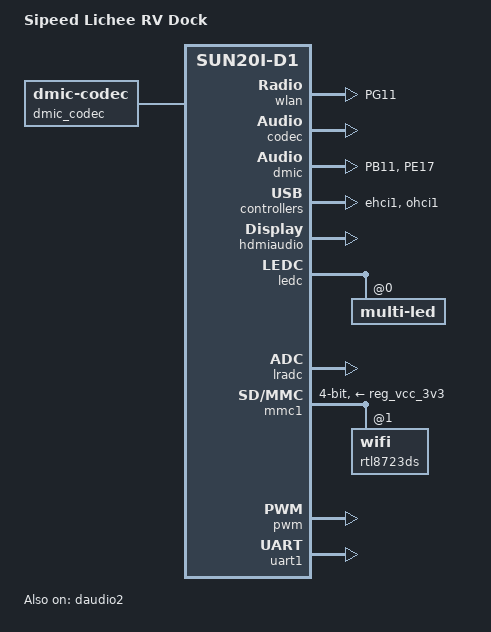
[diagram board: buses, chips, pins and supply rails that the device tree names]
// SPDX-License-Identifier: (GPL-2.0+ or MIT)
// Copyright (C) 2022 Jisheng Zhang <jszhang@kernel.org>
// Copyright (C) 2022 Samuel Holland <samuel@sholland.org>

#include <dt-bindings/display/media-bus-format.h>
#include <dt-bindings/input/input.h>

#include "sun20i-d1-lichee-rv-bsp.dts"

/ {
	model = "Sipeed Lichee RV Dock";
	compatible = "sipeed,lichee-rv-dock", "sipeed,lichee-rv",
		     "allwinner,sun20i-d1";

	aliases {
		ethernet1 = &rtl8723ds;
	};

	dmic_codec: dmic-codec {
		compatible = "dmic-codec";
		num-channels = <2>;
		#sound-dai-cells = <0>;
	};

	dmic-sound {
		compatible = "simple-audio-card";
		simple-audio-card,name = "DMIC";
		#address-cells = <1>;
		#size-cells = <0>;

		simple-audio-card,dai-link@0 {
			format = "pdm";
			frame-master = <&link0_cpu>;
			bitclock-master = <&link0_cpu>;

			link0_cpu: cpu {
				sound-dai = <&dmic>;
			};

			link0_codec: codec {
				sound-dai = <&dmic_codec>;
			};
		};
	};

/*
	wifi_pwrseq: wifi-pwrseq {
		compatible = "mmc-pwrseq-simple";
		reset-gpios = <&pio 6 12 GPIO_ACTIVE_LOW>; // PG12 //
	};
*/

	rfkill: rfkill@0 {
		compatible    = "allwinner,sunxi-rfkill";
		chip_en;
		power_en;
		status        = "okay";

		wlan: wlan@0 {
			compatible    = "allwinner,sunxi-wlan";
			pinctrl-0 = <&wlan_pins_a>;
			pinctrl-names = "default";
			clock-names = "32k-fanout1";
			clocks = <&ccu CLK_FANOUT1>;
			wlan_busnum    = <0x1>;
			wlan_regon    = <&pio 6 12 GPIO_ACTIVE_HIGH>;
			wlan_hostwake  = <&pio 6 10 GPIO_ACTIVE_HIGH>;
			/*wlan_power    = "VCC-3V3";*/
			/*wlan_power_vol = <3300000>;*/
			/*interrupt-parent = <&pio>;
			interrupts = < 6 10 IRQ_TYPE_LEVEL_HIGH>;*/
			wakeup-source;

		};

		bt: bt@0 {
			compatible    = "allwinner,sunxi-bt";
			pinctrl-0 = <&wlan_pins_a>;
			pinctrl-names = "default";
			clock-names = "32k-fanout1";
			clocks = <&ccu CLK_FANOUT1>;
			/*bt_power_num = <0x01>;*/
			/*bt_power      = "axp803-dldo1";*/
			/*bt_io_regulator = "axp803-dldo1";*/
			/*bt_io_vol = <3300000>;*/
			/*bt_power_vol = <330000>;*/
			bt_rst_n      = <&pio 6 18 GPIO_ACTIVE_LOW>;
			status        = "okay";
		};
	};

	btlpm: btlpm@0 {
		compatible  = "allwinner,sunxi-btlpm";
		uart_index  = <0x1>;
		bt_wake     = <&pio 6 16 GPIO_ACTIVE_HIGH>;
		bt_hostwake = <&pio 6 17 GPIO_ACTIVE_HIGH>;
		status      = "disabled";
	};

	addr_mgt: addr_mgt@0 {
		compatible     = "allwinner,sunxi-addr_mgt";
		type_addr_wifi = <0x0>;
		type_addr_bt   = <0x0>;
		type_addr_eth  = <0x0>;
		status         = "okay";
	};

/*
	backlight: backlight {
		compatible = "pwm-backlight";
		power-supply = <&reg_vcc>;
		pwms = <&pwm 7 50000 0>;
	};

	panel {
		compatible = "simple-panel";
		backlight = <&backlight>;
		power-supply = <&reg_vcc>;
		reset-gpios = <&pio 6 13 GPIO_ACTIVE_LOW>; // PG13 //

		bpc = <6>;
		bus-format = <MEDIA_BUS_FMT_RGB666_1X18>;

		// LCD size //
		width-mm = <154>;
		height-mm = <86>;

		panel-timing {
			clock-frequency = <10000000>;
			hactive = <480>;
			vactive = <272>;
			hfront-porch = <50>;
			hsync-len = <10>;
			hback-porch = <50>;
			vfront-porch = <12>;
			vsync-len = <11>;
			vback-porch = <12>;
			hsync-active = <0>;
			vsync-active = <0>;
		};

		port {
			panel_in_tcon_lcd0: endpoint {
				remote-endpoint = <&tcon_lcd0_out_panel>;
			};
		};
	};
*/
};

&codec {
	routing = "Internal Speaker", "HPOUTL",
		  "Internal Speaker", "HPOUTR",
		  "LINEINL", "HPOUTL",
		  "LINEINR", "HPOUTR",
		  "MICIN3", "Internal Microphone",
		  "Internal Microphone", "HBIAS";
	widgets = "Microphone", "Internal Microphone",
		  "Speaker", "Internal Speaker";
	status = "okay";
};

/*
&de {
	status = "okay";
};
*/

&dmic {
	pinctrl-0 = <&dmic_pb11_d0_pin>, <&dmic_pe17_clk_pin>;
	pinctrl-names = "default";
	status = "okay";
};

&ehci1 {
	status = "okay";
};

&daudio2 {
	mclk_div 	= <0x00>;
	frametype 	= <0x00>;
	tdm_config 	= <0x01>;
	sign_extend 	= <0x00>;
	tx_data_mode 	= <0x00>;
	rx_data_mode 	= <0x00>;
	msb_lsb_first 	= <0x00>;
	pcm_lrck_period = <0x20>;
	slot_width_select = <0x20>;
	asrc_function_en  = <0x00>;
	pinctrl-names   = "default", "sleep";
	/*pinctrl-0       = <&daudio2_pins_a &daudio2_pins_b &daudio2_pins_c>;*/
	/*pinctrl-1       = <&daudio2_pins_d>;*/
	/* HDMI audio, no need pin */
	pinctrl-0;
	pinctrl-1;
	pinctrl_used	= <0x0>;
	daudio_type	= <0x1>;
	status = "okay";
};

/* if HDMI audio is used, daudio2 should be enable. */
&hdmiaudio {
	status = "okay";
};

&sounddaudio2 {
	status = "okay";
	simple-audio-card,name = "sndhdmi";
	daudio2_master: simple-audio-card,codec {
		sound-dai = <&hdmiaudio>;
	};
};

&disp {
	disp_init_enable         = <1>;
	disp_mode                = <0>;

	screen0_output_type      = <1>;
	screen0_output_mode      = <4>;

	screen1_output_type      = <3>;
	screen1_output_mode      = <10>;

	screen1_output_format    = <0>;
	screen1_output_bits      = <0>;
	screen1_output_eotf      = <4>;
	screen1_output_cs        = <257>;
	screen1_output_dvi_hdmi  = <2>;
	screen1_output_range     = <2>;
	screen1_output_scan      = <0>;
	screen1_output_aspect_ratio = <8>;

	dev0_output_type         = <1>;
	dev0_output_mode         = <4>;
	dev0_screen_id           = <0>;
	dev0_do_hpd              = <0>;

	dev1_output_type         = <4>;
	dev1_output_mode         = <10>;
	dev1_screen_id           = <1>;
	dev1_do_hpd              = <1>;

	def_output_dev           = <0>;
	hdmi_mode_check          = <1>;

	fb0_format               = <0>;
	fb0_width                = <0>;
	fb0_height               = <0>;

	fb1_format               = <0>;
	fb1_width                = <0>;
	fb1_height               = <0>;
	chn_cfg_mode             = <1>;

	disp_para_zone           = <1>;
	/*VCC-LCD*/
/*	dc1sw-supply = <&reg_dc1sw>;*/
	/*VCC-DSI*/
/*	eldo3-supply = <&reg_eldo3>;*/
	/*VCC-PD*/
/*	dcdc1-supply = <&reg_dcdc1>;*/

	pwms = <&pwm 7 50000 0>;
};

/*----------------------------------------------------------------------------------
;lcd0 configuration

;lcd_if:               0:hv(sync+de); 1:8080; 2:ttl; 3:lvds; 4:dsi; 5:edp; 6:extend dsi
;lcd_hv_if             0:Parallel RGB; 8:Serial RGB; 10:Dummy RGB; 11: RGB Dummy;12:CCIR656
;lcd_hv_clk_phase      0:0 degree;1:90 degree;2:180 degree;3:270 degree
;lcd_hv_sync_polarity  0:vs low,hs low; 1:vs high,hslow; 2:vs low,hs high; 3:vs high,hs high
;lcd_hv_syuv_seq       0:YUYV; 1:YVYU; 2:UYVY; 3:VYUY
;lcd_cpu_if            0:18bit/1 cycle parallel(RGB666); 4:16bit/1cycle parallel (RGB565)
;                      6:18bit/3 cycle parallel(RGB666); 7:16bit/2cycle parallel (RGB565)
;lcd_cpu_te            0:frame auto trigger; 1:frame triggered by te rising edge; 2:frame triggered by te falling edge;
;lcd_dsi_if            0:video mode; 1: Command mode; 2:video burst mode
;lcd_dsi_te            0:frame auto trigger; 1:frame triggered by te rising edge; 2:frame triggered by te falling edge;
;lcd_x:                lcd horizontal resolution
;lcd_y:                lcd vertical resolution
;lcd_width:            width of lcd in mm
;lcd_height:           height of lcd in mm
;lcd_dclk_freq:        in MHZ unit
;lcd_pwm_freq:         in HZ unit
;lcd_pwm_pol:          lcd backlight PWM polarity
;lcd_pwm_max_limit     lcd backlight PWM max limit(<=255)
;lcd_hbp:              hsync back porch(pixel) + hsync plus width(pixel);
;lcd_ht:               hsync total cycle(pixel)
;lcd_vbp:              vsync back porch(line) + vysnc plus width(line)
;lcd_vt:               vysnc total cycle(line)
;lcd_hspw:             hsync plus width(pixel)
;lcd_vspw:             vysnc plus width(pixel)
;lcd_lvds_if:          0:single link;  1:dual link
;lcd_lvds_colordepth:  0:8bit; 1:6bit
;lcd_lvds_mode:        0:NS mode; 1:JEIDA mode
;lcd_frm:              0:disable; 1:enable rgb666 dither; 2:enable rgb656 dither
;lcd_io_phase:         0:noraml; 1:intert phase(0~3bit: vsync phase; 4~7bit:hsync phase;
;                      8~11bit:dclk phase; 12~15bit:de phase)
;lcd_gamma_en          lcd gamma correction enable
;lcd_bright_curve_en   lcd bright curve correction enable
;lcd_cmap_en           lcd color map function enable
;deu_mode              0:smoll lcd screen; 1:large lcd screen(larger than 10inch)
;lcdgamma4iep:         Smart Backlight parameter, lcd gamma vale * 10;
;                      decrease it while lcd is not bright enough; increase while lcd is too bright
;smart_color           90:normal lcd screen 65:retina lcd screen(9.7inch)
;Pin setting for special function ie.LVDS, RGB data or vsync
;   name(donot care) = port:PD12<pin function><pull up or pull down><drive ability><output level>
;Pin setting for gpio:
;   lcd_gpio_X     = port:PD12<pin function><pull up or pull down><drive ability><output level>
;Pin setting for backlight enable pin
;   lcd_bl_en     = port:PD12<pin function><pull up or pull down><drive ability><output level>
;fsync setting, pulse to csi
;lcd_fsync_en          (0:disable fsync,1:enable)
;lcd_fsync_act_time    (active time of fsync, unit:pixel)
;lcd_fsync_dis_time    (disactive time of fsync, unit:pixel)
;lcd_fsync_pol         (0:positive;1:negative)
;gpio config: <&pio for cpu or &r_pio for cpus, port, port num, pio function,
pull up or pull down(default 0), driver level(default 1), data>
;For dual link lvds: use lvds2link_pins_a  and lvds2link_pins_b instead
;For rgb24: use rgb24_pins_a  and rgb24_pins_b instead
;For lvds1: use lvds1_pins_a  and lvds1_pins_b instead
;For lvds0: use lvds0_pins_a  and lvds0_pins_b instead
;----------------------------------------------------------------------------------*/
&lcd0 {
        lcd_used        = <1>;
        lcd_driver_name = "default_lcd";

        lcd_if          = <0>;
        lcd_hv_if       = <0>;

        lcd_width       = <70>;
        lcd_height      = <72>;
        lcd_x           = <480>;
        lcd_y           = <272>;
        lcd_dclk_freq   = <10>;
        lcd_hbp         = <50>;
        lcd_ht          = <538>;
        lcd_hspw        = <10>;
        lcd_vbp         = <12>;
        lcd_vt          = <292>;
        lcd_vspw        = <11>;

	lcd_backlight   = <50>;
	lcd_pwm_used    = <1>;
	lcd_pwm_ch      = <7>;
	lcd_pwm_freq    = <20000>;
	lcd_pwm_pol     = <1>;
	lcd_bright_curve_en = <0>;

	lcd_frm         = <1>;
	lcd_io_phase    = <0x0000>;
	lcd_gamma_en    = <0>;
	lcd_cmap_en     = <0>;
	lcd_hv_clk_phase= <0>;
	lcd_hv_sync_polarity= <0>;
	lcd_rb_swap          = <0>;

	lcd_power       = "vcc-lcd";
	lcd_pin_power   = "vcc-pd";
	lcd_gpio_0      = <&pio PG 13 GPIO_ACTIVE_HIGH>;
	lcd_gpio_1      = <&pio PE 16 GPIO_ACTIVE_HIGH>;
	lcd_gpio_2      = <&pio PE 12 GPIO_ACTIVE_HIGH>;
	lcd_gpio_3      = <&pio PE 15 GPIO_ACTIVE_HIGH>;
	pinctrl-0       = <&lcd_rgb666_pins>;
	pinctrl-1       = <&lcd_rgb666_sleep_pins>;
};


&hdmi {
	hdmi_used = <1>;
	hdmi_power_cnt = <0>;
	hdmi_cts_compatibility = <1>;
	hdmi_hdcp_enable = <1>;
	hdmi_hdcp22_enable = <0>;
	hdmi_cec_support = <1>;
	hdmi_cec_super_standby = <0>;

	ddc_en_io_ctrl = <0>;
	power_io_ctrl = <0>;
};

&ledc {
	pinctrl-0 = <&ledc_pc0_pin>;
	pinctrl-names = "default";
	status = "okay";

	multi-led@0 {
		reg = <0x0>;
		color = <LED_COLOR_ID_RGB>;
		function = LED_FUNCTION_STATUS;
		allwinner,multi_intensity = <0 255 0>;
		linux,default-trigger = "mmc0";
	};
};

&lradc {
	status = "okay";

	button-220 {
		label = "OK";
		linux,code = <KEY_OK>;
		channel = <0>;
		voltage = <220000>;
	};
};

&mmc1 {
	bus-width = <4>;
/*
	mmc-pwrseq = <&wifi_pwrseq>;
*/
	no-sd;
	cap-sdio-irq;
	keep-power-in-suspend;
	ignore-pm-notify;
	ctl-spec-caps = <0x8>;

	sunxi-dly-52M-ddr4  = <1 0 0 0 2>;
	sunxi-dly-104M  = <1 0 0 0 1>;
	sunxi-dly-208M  = <1 0 0 0 1>;

/*
	non-removable;
*/
	vmmc-supply = <&reg_vcc_3v3>;
	vqmmc-supply = <&reg_vcc_3v3>;

	pinctrl-0 = <&mmc1_pins>;
	pinctrl-1 = <&sdc1_pins_b>;
	pinctrl-names = "default","sleep";
	status = "okay";

	rtl8723ds: wifi@1 {
		reg = <1>;
	};
};

&ohci1 {
	status = "okay";
};

&pio {
	dmic_pb11_d0_pin: dmic-pb11-d0-pin {
		pins = "PB11";
		function = "dmic";
	};

	dmic_pe17_clk_pin: dmic-pe17-clk-pin {
		pins = "PE17";
		function = "dmic";
	};

	sdc1_pins_a: sdc1@0 {
		pins = "PG0", "PG1", "PG2",
		       "PG3", "PG4", "PG5";
		function = "mmc1";
		drive-strength = <30>;
		bias-pull-up;
	};

	sdc1_pins_b: sdc1@1 {
		pins = "PG0", "PG1", "PG2",
		       "PG3", "PG4", "PG5";
			function = "gpio_in";
	};

	wlan_pins_a:wlan@0 {
		pins = "PG11";
		function = "clk";
	};
};

&pwm {
	pinctrl-0 = <&pwm7_pd22_pin>;
	pinctrl-names = "default";
	status = "okay";
};

/*
&tcon_lcd0 {
	pinctrl-0 = <&lcd_rgb666_pins>;
	pinctrl-names = "default";
};

&tcon_lcd0_out {
	tcon_lcd0_out_panel: endpoint {
		remote-endpoint = <&panel_in_tcon_lcd0>;
	};
};
*/

&uart1 {
	uart-has-rtscts;
	pinctrl-0 = <&uart1_pg6_pins>, <&uart1_pg8_rts_cts_pins>;
	pinctrl-names = "default";
	status = "okay";

/*
	bluetooth {
		compatible = "realtek,rtl8723ds-bt";
		device-wake-gpios = <&pio 6 15 GPIO_ACTIVE_HIGH>; // PG16 //
		enable-gpios = <&pio 6 18 GPIO_ACTIVE_HIGH>; // PG18 //
		host-wake-gpios = <&pio 6 17 GPIO_ACTIVE_HIGH>; // PG17 //
	};
*/
};

&usbphy {
	/* PD20 and PD21 are repurposed for the LCD panel */
	/delete-property/ usb0_id_det-gpios;
	/delete-property/ usb0_vbus_det-gpios;
	usb1_vbus-supply = <&reg_vcc>;
};
